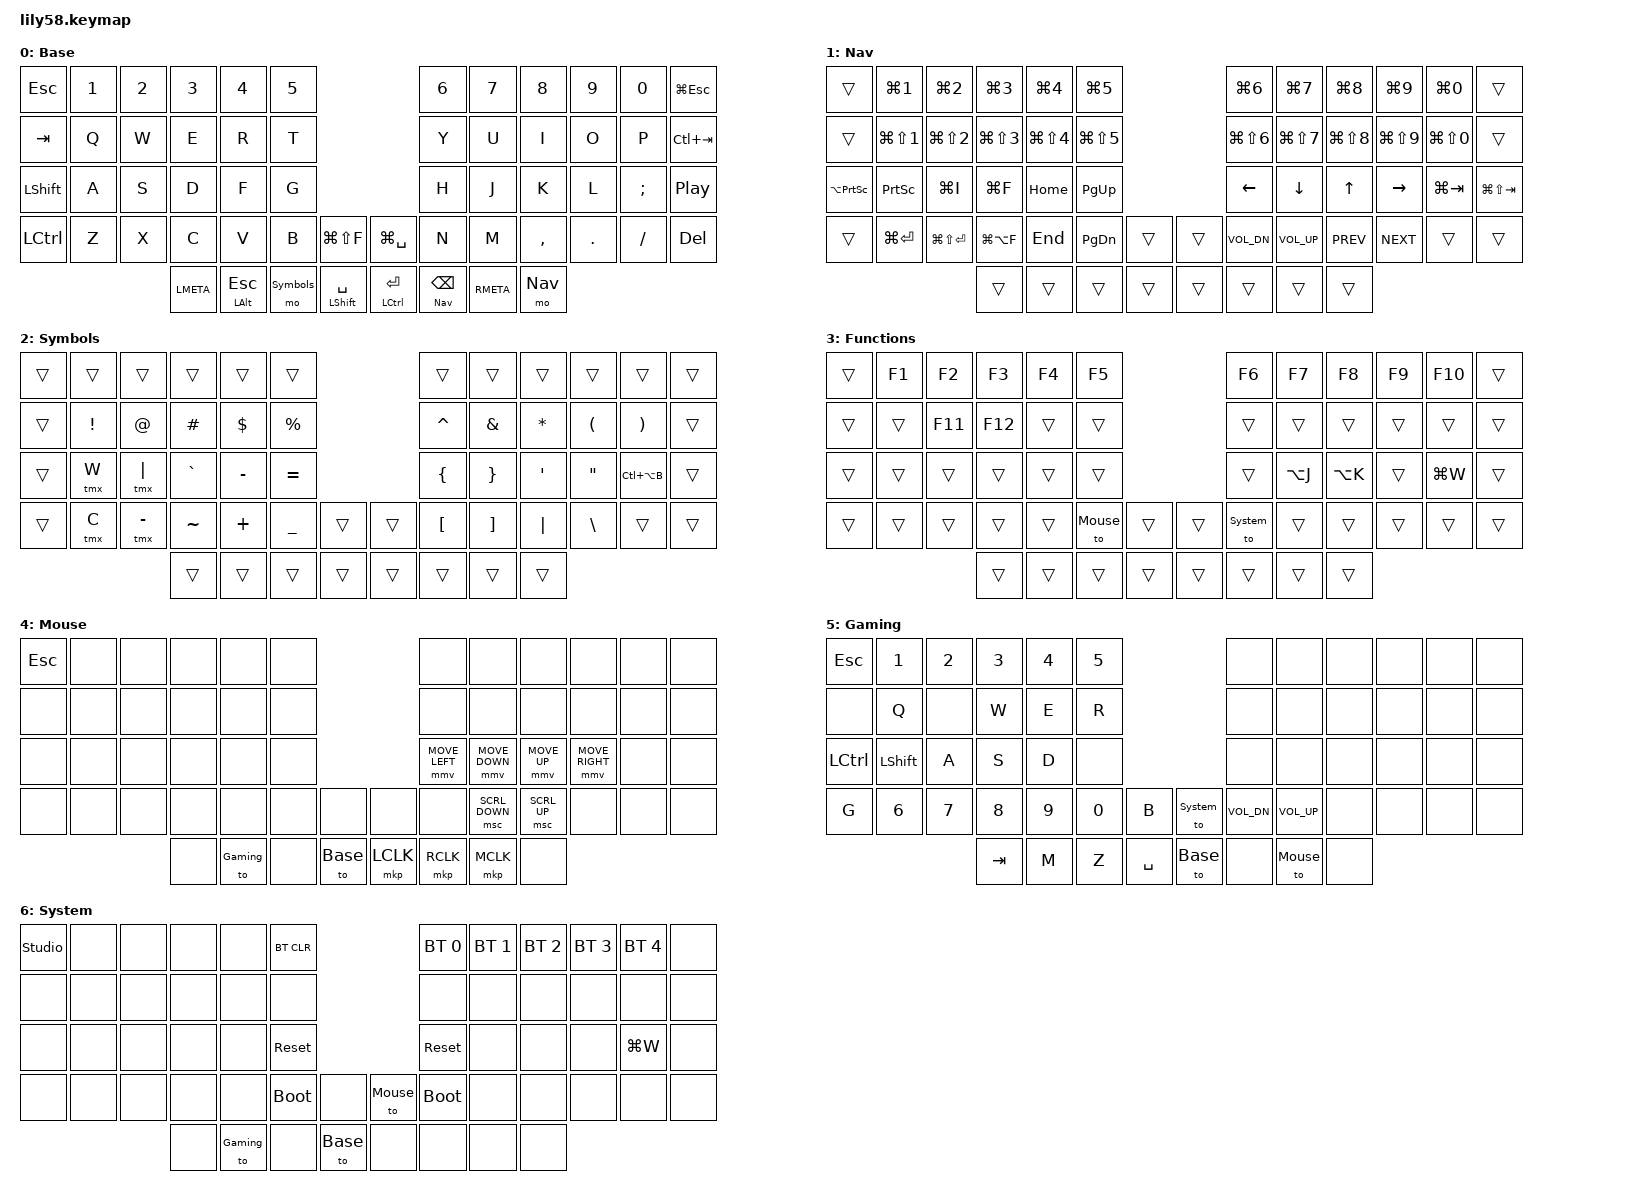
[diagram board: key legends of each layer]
/*
 * Copyright (c) 2020 The ZMK Contributors
 *
 * SPDX-License-Identifier: MIT
 */

#include <behaviors.dtsi>
#include <dt-bindings/zmk/bt.h>
#include <dt-bindings/zmk/keys.h>
#include <dt-bindings/zmk/pointing.h>

// Layers

#define Base       0
#define Nav        1
#define Symbols    2
#define Functions  3
#define Mouse      4
#define Gaming     5
#define System     6

/ {
    macros {
        tmx: tmux_prefix {
            compatible = "zmk,behavior-macro-one-param";
            #binding-cells = <1>;
            wait-ms = <15>;
            tap-ms = <15>;
            bindings = <&macro_tap &kp LC(A)>,
                       <&macro_param_1to1>,
                       <&macro_tap &kp MACRO_PLACEHOLDER>;
        };
    };

    behaviors {
        tm: thumb_mods {
            compatible = "zmk,behavior-hold-tap";
            #binding-cells = <2>;
            tapping-term-ms = <150>;
            quick-tap-ms = <150>;
            flavor = "tap-preferred";
            bindings = <&kp>, <&kp>;
            require-prior-idle-ms = <100>;  // 連打時 Space/Enter 一律當 tap，避免誤觸 Shift/Ctrl
        };

        em: enter_mods {
            compatible = "zmk,behavior-hold-tap";
            #binding-cells = <2>;
            tapping-term-ms = <200>;
            quick-tap-ms = <250>;
            flavor = "balanced";
            bindings = <&kp>, <&kp>;
        };
        
        lh: layer_hold {
            compatible = "zmk,behavior-hold-tap";
            #binding-cells = <2>;
            tapping-term-ms = <150>;
            quick-tap-ms = <180>;
            flavor = "tap-preferred";
            bindings = <&mo>, <&kp>;
        };

    };

    keymap {
        compatible = "zmk,keymap";

        Base {
            display-name = "Base";
            bindings = <
                &kp ESC    &kp N1  &kp N2  &kp N3     &kp N4        &kp N5                                         &kp N6        &kp N7     &kp N8     &kp N9   &kp N0    &kp LG(ESC)
                &kp TAB    &kp Q   &kp W   &kp E      &kp R         &kp T                                          &kp Y         &kp U      &kp I      &kp O    &kp P     &kp LC(TAB)
                &kp LSHFT  &kp A   &kp S   &kp D      &kp F         &kp G                                          &kp H         &kp J      &kp K      &kp L    &kp SEMI  &kp C_PLAY_PAUSE
                &kp LCTRL  &kp Z   &kp X   &kp C      &kp V         &kp B        &kp LG(LS(F))      &kp LG(SPACE)  &kp N         &kp M      &kp COMMA  &kp DOT  &kp FSLH  &kp DEL
                                           &kp LMETA  &tm LALT ESC  &mo Symbols  &tm LSHFT SPACE    &em LCTRL RET  &lh Nav BSPC  &kp RMETA  &mo Nav
            >;
        };

        Nav {
            display-name = "Nav";
            bindings = <
                &trans         &kp LG(N1)      &kp LG(N2)       &kp LG(N3)      &kp LG(N4)      &kp LG(N5)                        &kp LG(N6)      &kp LG(N7)      &kp LG(N8)      &kp LG(N9)      &kp LG(N0)      &trans
                &trans         &kp LG(LS(N1))  &kp LG(LS(N2))   &kp LG(LS(N3))  &kp LG(LS(N4))  &kp LG(LS(N5))                    &kp LG(LS(N6))  &kp LG(LS(N7))  &kp LG(LS(N8))  &kp LG(LS(N9))  &kp LG(LS(N0))  &trans
                &kp LA(PSCRN)  &kp PSCRN       &kp LG(I)        &kp LG(F)       &kp HOME        &kp PG_UP                         &kp LEFT        &kp DOWN        &kp UP          &kp RIGHT       &kp LG(TAB)     &kp LG(LS(TAB))
                &trans         &kp LG(RET)     &kp LG(LS(RET))  &kp LG(LA(F))   &kp END         &kp PG_DN       &trans    &trans  &kp C_VOL_DN    &kp C_VOL_UP    &kp C_PREV      &kp C_NEXT      &trans          &trans
                                                                &trans          &trans          &trans          &trans    &trans  &trans          &trans          &trans
            >;
        };

        Symbols {
            display-name = "Symbols";
            bindings = <
                &trans  &trans    &trans      &trans     &trans     &trans                       &trans     &trans    &trans    &trans    &trans         &trans
                &trans  &kp EXCL  &kp AT      &kp HASH   &kp DLLR   &kp PRCNT                    &kp CARET  &kp AMPS  &kp STAR  &kp LPAR  &kp RPAR       &trans
                &trans  &tmx W    &tmx PIPE   &kp GRAVE  &kp MINUS  &kp EQUAL                    &kp LBRC   &kp RBRC  &kp SQT   &kp DQT   &kp LC(LA(B))  &trans
                &trans  &tmx C    &tmx MINUS  &kp TILDE  &kp PLUS   &kp UNDER  &trans    &trans  &kp LBKT   &kp RBKT  &kp PIPE  &kp BSLH  &trans         &trans
                                              &trans     &trans     &trans     &trans    &trans  &trans     &trans    &trans
            >;
        };

        Functions {
            display-name = "Functions";
            bindings = <
                &trans  &kp F1  &kp F2   &kp F3   &kp F4  &kp F5                       &kp F6      &kp F7     &kp F8     &kp F9  &kp F10    &trans
                &trans  &trans  &kp F11  &kp F12  &trans  &trans                       &trans      &trans     &trans     &trans  &trans     &trans
                &trans  &trans  &trans   &trans   &trans  &trans                       &trans      &kp LA(J)  &kp LA(K)  &trans  &kp LG(W)  &trans
                &trans  &trans  &trans   &trans   &trans  &to Mouse  &trans    &trans  &to System  &trans     &trans     &trans  &trans     &trans
                                         &trans   &trans  &trans     &trans    &trans  &trans      &trans     &trans
            >;
        };

        Mouse {
            display-name = "Mouse";
            bindings = <
                &kp ESC  &none  &none  &none  &none        &none                         &none           &none           &none         &none            &none  &none
                &none    &none  &none  &none  &none        &none                         &none           &none           &none         &none            &none  &none
                &none    &none  &none  &none  &none        &none                         &mmv MOVE_LEFT  &mmv MOVE_DOWN  &mmv MOVE_UP  &mmv MOVE_RIGHT  &none  &none
                &none    &none  &none  &none  &none        &none  &none       &none      &none           &msc SCRL_DOWN  &msc SCRL_UP  &none            &none  &none
                                       &none  &to Gaming   &none  &to Base    &mkp LCLK  &mkp RCLK       &mkp MCLK       &none
            >;
        };

        Gaming {
            display-name = "Gaming";
            bindings = <
                &kp ESC    &kp N1     &kp N2  &kp N3   &kp N4  &kp N5                           &none         &none         &none  &none  &none  &none
                &none      &kp Q      &none   &kp W    &kp E   &kp R                            &none         &none         &none  &none  &none  &none
                &kp LCTRL  &kp LSHFT  &kp A   &kp S    &kp D   &none                            &none         &none         &none  &none  &none  &none
                &kp G      &kp N6     &kp N7  &kp N8   &kp N9  &kp N0  &kp B        &to System  &kp C_VOL_DN  &kp C_VOL_UP  &none  &none  &none  &none
                                              &kp TAB  &kp M   &kp Z   &kp SPACE    &to Base    &none         &to Mouse     &none
            >;
        };

        System {
            display-name = "System";
            bindings = <
                &studio_unlock  &none  &none  &none  &none        &bt BT_CLR                          &bt BT_SEL 0  &bt BT_SEL 1  &bt BT_SEL 2  &bt BT_SEL 3  &bt BT_SEL 4  &none
                &none           &none  &none  &none  &none        &none                               &none         &none         &none         &none         &none         &none
                &none           &none  &none  &none  &none        &sys_reset                          &sys_reset    &none         &none         &none         &kp LG(W)     &none
                &none           &none  &none  &none  &none        &bootloader  &none       &to Mouse  &bootloader   &none         &none         &none         &none         &none
                                              &none  &to Gaming   &none        &to Base    &none      &none         &none         &none
            >;
        };
    };

    conditional_layers {
        compatible = "zmk,conditional-layers";

        functions {
            if-layers = <1 2>;
            then-layer = <3>;
        };
    };
};
